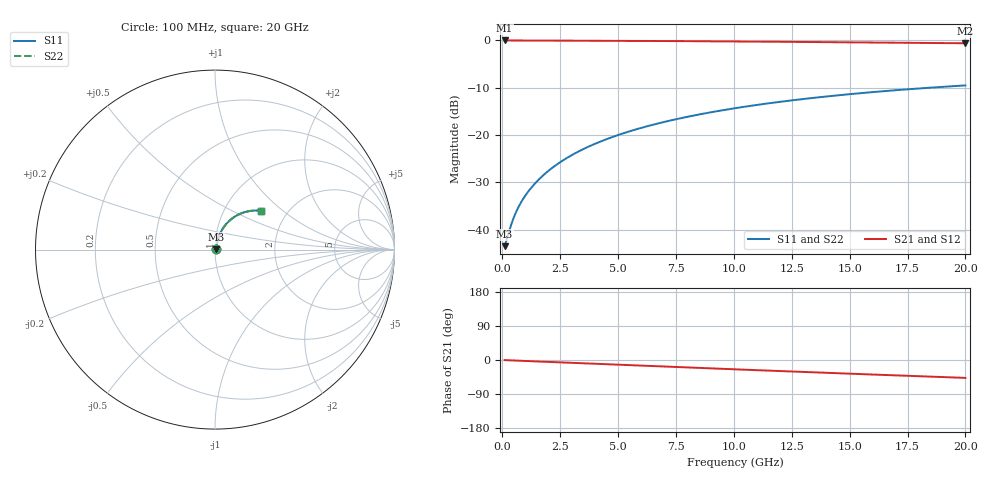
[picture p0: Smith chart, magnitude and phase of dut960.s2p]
! Touchstone file exported from HFSS 2026.1.0
!  File:  C:/ffzhzh/LocalFiles/Ansys_Project_Files/temp_train_BSMRDL_960_1783172402_43440.aedt
!  Generated:  09:41:16 PM Jul  4, 2026
!  Design:  BSMRDL
!  Project:  temp_train_BSMRDL_960_1783172402_43440
! Variables:
!  h_bsmrdl = 2.03um
!  h_ox = 20um
!  h_rdl = 5um
!  h_sub = 80um
!  h_tmrdl = 5um
!  h_tsv = 80um
!  h_via = 3um
!  l_bsmrdl = 750.65um
!  l_sub = 1150.65um
!  l_tmrdl = 200um
!  m_sub = 200um
!  pitch = 36.47um
!  r_tsv = 6um
!  s_tmrdl = 10um
!  w_bsmrdl = 21.95um
!  w_sub = 500um
!  w_tmrdl = 12um
!  x_tsv_center1 = 206um
!  x_tsv_center2 = 978.6um
!  x_tsv_center3 = 1190.6um
!  x_tsv_center4 = 1963.2um
!  x_tsv_center5 = 2175.2um
!  x_tsv_center6 = 2947.8um
# GHz S MA R 50.000000
! Terminal data exported
! Port[1] = BSM_RDL1_1_T1
! Port[2] = BSM_RDL1_1_T2
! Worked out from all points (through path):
!   200 points, 100 MHz to 20 GHz, reference 50 ohm
!   highest |S21| = -0.05 dB at 100 MHz (marker M1); lowest = -0.6 dB at 20 GHz (marker M2)
!   group delay of S21, straight-line fit = 6.56 ps
!   lowest |S11| = -43.5 dB at 100 MHz (marker M3), VSWR 1.01, Z = 50.6 + j0.242 ohm
!   |S11| at or under -10 dB: start of sweep to 18.55 GHz
!   |S22| runs from -43.5 to -9.5 dB; largest |S21 - S12| = 4.2e-15
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0.1  0.0067 20.9  0.9938 -0.3  0.9938 -0.3  0.0067 20.9
! Gamma 0 0 0 0
! Port Impedance 50 0 50 0
0.4  0.01159 52.4  0.9931 -1.1  0.9931 -1.1  0.0116 52.4
0.5  0.01352 56.6  0.9928 -1.3  0.9928 -1.3  0.01352 56.6
0.6  0.01544 59.7  0.9925 -1.6  0.9925 -1.6  0.01544 59.7
0.7  0.01734 62.0  0.9922 -1.8  0.9922 -1.8  0.01735 62.0
0.9  0.02112 65.3  0.9918 -2.3  0.9918 -2.3  0.02112 65.3
1.2  0.02676 68.6  0.9913 -3.1  0.9913 -3.1  0.02676 68.6
1.4  0.03053 70.1  0.991 -3.6  0.991 -3.6  0.03053 70.0
1.7  0.03622 71.6  0.9906 -4.3  0.9906 -4.3  0.03622 71.6
2.2  0.0458 73.1  0.99 -5.5  0.99 -5.5  0.0458 73.1
2.8  0.05738 73.8  0.9892 -7.0  0.9892 -7.0  0.05738 73.7
3.5  0.07093 73.7  0.9881 -8.7  0.9881 -8.7  0.07093 73.6
4.2  0.08444 73.0  0.9869 -10.5  0.9869 -10.5  0.08444 73.0
5  0.09978 72.0  0.9852 -12.4  0.9852 -12.4  0.09978 71.9
5.9  0.1168 70.5  0.9831 -14.6  0.9831 -14.6  0.1168 70.4
6.8  0.1336 68.8  0.9807 -16.8  0.9807 -16.8  0.1336 68.7
8.3  0.1609 65.7  0.9761 -20.4  0.9761 -20.4  0.1609 65.7
10.1  0.1924 61.9  0.9698 -24.7  0.9698 -24.7  0.1924 61.8
11.7  0.219 58.4  0.9637 -28.5  0.9637 -28.5  0.219 58.3
13.4  0.2457 54.7  0.9566 -32.5  0.9566 -32.5  0.2457 54.6
16.7  0.2928 47.5  0.9424 -39.9  0.9424 -39.9  0.2928 47.4
20  0.3332 40.5  0.9281 -47.2  0.9281 -47.2  0.3332 40.3
